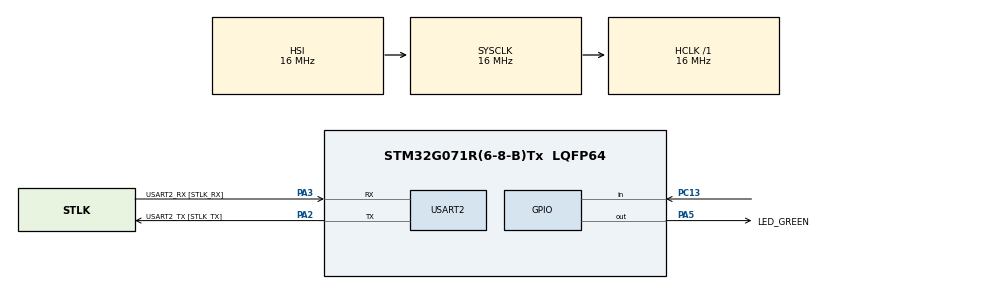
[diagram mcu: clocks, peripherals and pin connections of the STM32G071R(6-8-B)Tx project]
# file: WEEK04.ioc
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Mcu.Family=STM32G0
Mcu.Name=STM32G071R(6-8-B)Tx
Mcu.Package=LQFP64
PA13.GPIO_Label=TMS
PA13.Mode=Serial_Wire
PA13.Signal=SYS_SWDIO
PA14-BOOT0.GPIO_Label=TCK
PA14-BOOT0.Mode=Serial_Wire
PA14-BOOT0.Signal=SYS_SWCLK
PA2.GPIO_Label=USART2_TX [STLK_TX]
PA2.GPIO_PuPd=GPIO_PULLUP
PA2.Mode=Asynchronous
PA2.Signal=USART2_TX
PA3.GPIO_Label=USART2_RX [STLK_RX]
PA3.GPIO_PuPd=GPIO_PULLUP
PA3.Mode=Asynchronous
PA3.Signal=USART2_RX
PA5.GPIO_Label=LED_GREEN
PA5.GPIO_Speed=GPIO_SPEED_FREQ_HIGH
PA5.Signal=GPIO_Output
PC13.Signal=GPIO_Input
PC14-OSC32_IN\ (PC14).Mode=LSE-External-Oscillator
PC14-OSC32_IN\ (PC14).Signal=RCC_OSC32_IN
PC15-OSC32_OUT\ (PC15).Mode=LSE-External-Oscillator
PC15-OSC32_OUT\ (PC15).Signal=RCC_OSC32_OUT
PF0-OSC_IN\ (PF0).GPIO_Label=MCO
PF0-OSC_IN\ (PF0).Mode=HSE-External-Clock-Source
PF0-OSC_IN\ (PF0).Signal=RCC_OSC_IN
ProjectManager.HeapSize=0x200
ProjectManager.StackSize=0x400
ProjectManager.TargetToolchain=STM32CubeIDE
RCC.AHBFreq_Value=16000000
RCC.CortexFreq_Value=16000000
RCC.EXTERNAL_CLOCK_VALUE=12288000
RCC.HCLKFreq_Value=16000000
RCC.HSE_VALUE=8000000
RCC.HSI_VALUE=16000000
RCC.SYSCLKFreq_VALUE=16000000
RCC.VCOOutputFreq_Value=128000000
USART2.VirtualMode-Asynchronous=VM_ASYNC
VP_CRC_VS_CRC.Mode=CRC_Activate
board=NUCLEO-G071RB

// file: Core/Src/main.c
/* USER CODE BEGIN Header */
/**
  ******************************************************************************
  * @file           : main.c
  * @brief          : Main program body
  ******************************************************************************
  * @attention
  *
  * Copyright (c) 2024 STMicroelectronics.
  * All rights reserved.
  *
  * This software is licensed under terms that can be found in the LICENSE file
  * in the root directory of this software component.
  * If no LICENSE file comes with this software, it is provided AS-IS.
  *
  ******************************************************************************
  */
/* USER CODE END Header */
#include "main.h"

/* USER CODE BEGIN Includes */
#include "eeprom_emul.h"
/* USER CODE END Includes */

CRC_HandleTypeDef hcrc;

UART_HandleTypeDef huart2;

void SystemClock_Config(void);
static void MX_GPIO_Init(void);
static void MX_USART2_UART_Init(void);
static void MX_CRC_Init(void);

int main(void)
{

  /* MCU Configuration--------------------------------------------------------*/

  /* Reset of all peripherals, Initializes the Flash interface and the Systick. */
  HAL_Init();

  /* Configure the system clock */
  SystemClock_Config();

  /* Initialize all configured peripherals */
  MX_GPIO_Init();
  MX_USART2_UART_Init();
  MX_CRC_Init();
  /* USER CODE BEGIN 2 */
  HAL_UART_Transmit(&huart2, (uint8_t *)"Fakepng stop!\r\n", 15, 1000);
  HAL_FLASH_Unlock();

  /* EEPROM Init */
  HAL_Delay(2000);
  EE_Init(EE_FORCED_ERASE);

  long but_release_count;
  int but_count_addr = 20;
  unsigned char string_buffer[50];
  int string_buffer_szie = -1;
  int last_button_state = HAL_GPIO_ReadPin(GPIOC, GPIO_PIN_13);
  int button_state;

  if (HAL_GPIO_ReadPin(GPIOC, GPIO_PIN_13) == 0) {
	  EE_WriteVariable32bits(but_count_addr, 0);

	  HAL_UART_Transmit(&huart2, (uint8_t *)"Count Reset!\r\n", 14, 1000);
  }

  HAL_Delay(500);

  EE_ReadVariable32bits(but_count_addr, &but_release_count);

  HAL_UART_Transmit(&huart2, (uint8_t *)"Fakepng start!\r\n", 16, 1000);
  /* USER CODE END 2 */

  /* Infinite loop */
  while (1)
  {
	  button_state = HAL_GPIO_ReadPin(GPIOC, GPIO_PIN_13);

	  if (last_button_state == 0 && button_state == 1) {
		  but_release_count++;

		  EE_WriteVariable32bits(but_count_addr, but_release_count);

		  string_buffer_szie = sprintf(string_buffer, "Fakepng %ld\r\n", but_release_count);
		  HAL_UART_Transmit(&huart2, string_buffer, string_buffer_szie, 1000);
		  HAL_Delay(200);
	  }
	  last_button_state = button_state;

	  HAL_Delay(100);
  }
}

void SystemClock_Config(void)
{
  RCC_OscInitTypeDef RCC_OscInitStruct = {0};
  RCC_ClkInitTypeDef RCC_ClkInitStruct = {0};

  /** Configure the main internal regulator output voltage
  */
  HAL_PWREx_ControlVoltageScaling(PWR_REGULATOR_VOLTAGE_SCALE1);

  /** Initializes the RCC Oscillators according to the specified parameters
  * in the RCC_OscInitTypeDef structure.
  */
  RCC_OscInitStruct.OscillatorType = RCC_OSCILLATORTYPE_HSI;
  RCC_OscInitStruct.HSIState = RCC_HSI_ON;
  RCC_OscInitStruct.HSIDiv = RCC_HSI_DIV1;
  RCC_OscInitStruct.HSICalibrationValue = RCC_HSICALIBRATION_DEFAULT;
  RCC_OscInitStruct.PLL.PLLState = RCC_PLL_NONE;
  if (HAL_RCC_OscConfig(&RCC_OscInitStruct) != HAL_OK)
  {
    Error_Handler();
  }

  /** Initializes the CPU, AHB and APB buses clocks
  */
  RCC_ClkInitStruct.ClockType = RCC_CLOCKTYPE_HCLK|RCC_CLOCKTYPE_SYSCLK
                              |RCC_CLOCKTYPE_PCLK1;
  RCC_ClkInitStruct.SYSCLKSource = RCC_SYSCLKSOURCE_HSI;
  RCC_ClkInitStruct.AHBCLKDivider = RCC_SYSCLK_DIV1;
  RCC_ClkInitStruct.APB1CLKDivider = RCC_HCLK_DIV1;

  if (HAL_RCC_ClockConfig(&RCC_ClkInitStruct, FLASH_LATENCY_0) != HAL_OK)
  {
    Error_Handler();
  }
}

static void MX_CRC_Init(void)
{

  hcrc.Instance = CRC;
  hcrc.Init.DefaultPolynomialUse = DEFAULT_POLYNOMIAL_ENABLE;
  hcrc.Init.DefaultInitValueUse = DEFAULT_INIT_VALUE_ENABLE;
  hcrc.Init.InputDataInversionMode = CRC_INPUTDATA_INVERSION_NONE;
  hcrc.Init.OutputDataInversionMode = CRC_OUTPUTDATA_INVERSION_DISABLE;
  hcrc.InputDataFormat = CRC_INPUTDATA_FORMAT_BYTES;
  if (HAL_CRC_Init(&hcrc) != HAL_OK)
  {
    Error_Handler();
  }

}

static void MX_USART2_UART_Init(void)
{

  huart2.Instance = USART2;
  huart2.Init.BaudRate = 115200;
  huart2.Init.WordLength = UART_WORDLENGTH_8B;
  huart2.Init.StopBits = UART_STOPBITS_1;
  huart2.Init.Parity = UART_PARITY_NONE;
  huart2.Init.Mode = UART_MODE_TX_RX;
  huart2.Init.HwFlowCtl = UART_HWCONTROL_NONE;
  huart2.Init.OverSampling = UART_OVERSAMPLING_16;
  huart2.Init.OneBitSampling = UART_ONE_BIT_SAMPLE_DISABLE;
  huart2.Init.ClockPrescaler = UART_PRESCALER_DIV1;
  huart2.AdvancedInit.AdvFeatureInit = UART_ADVFEATURE_NO_INIT;
  if (HAL_UART_Init(&huart2) != HAL_OK)
  {
    Error_Handler();
  }
  if (HAL_UARTEx_SetTxFifoThreshold(&huart2, UART_TXFIFO_THRESHOLD_1_8) != HAL_OK)
  {
    Error_Handler();
  }
  if (HAL_UARTEx_SetRxFifoThreshold(&huart2, UART_RXFIFO_THRESHOLD_1_8) != HAL_OK)
  {
    Error_Handler();
  }
  if (HAL_UARTEx_DisableFifoMode(&huart2) != HAL_OK)
  {
    Error_Handler();
  }

}

static void MX_GPIO_Init(void)
{
  GPIO_InitTypeDef GPIO_InitStruct = {0};

  /* GPIO Ports Clock Enable */
  __HAL_RCC_GPIOC_CLK_ENABLE();
  __HAL_RCC_GPIOF_CLK_ENABLE();
  __HAL_RCC_GPIOA_CLK_ENABLE();

  /*Configure GPIO pin Output Level */
  HAL_GPIO_WritePin(LED_GREEN_GPIO_Port, LED_GREEN_Pin, GPIO_PIN_RESET);

  /*Configure GPIO pin : PC13 */
  GPIO_InitStruct.Pin = GPIO_PIN_13;
  GPIO_InitStruct.Mode = GPIO_MODE_INPUT;
  GPIO_InitStruct.Pull = GPIO_NOPULL;
  HAL_GPIO_Init(GPIOC, &GPIO_InitStruct);

  /*Configure GPIO pin : LED_GREEN_Pin */
  GPIO_InitStruct.Pin = LED_GREEN_Pin;
  GPIO_InitStruct.Mode = GPIO_MODE_OUTPUT_PP;
  GPIO_InitStruct.Pull = GPIO_NOPULL;
  GPIO_InitStruct.Speed = GPIO_SPEED_FREQ_HIGH;
  HAL_GPIO_Init(LED_GREEN_GPIO_Port, &GPIO_InitStruct);

}

void Error_Handler(void)
{
  __disable_irq();
  while (1)
  {
  }
}
